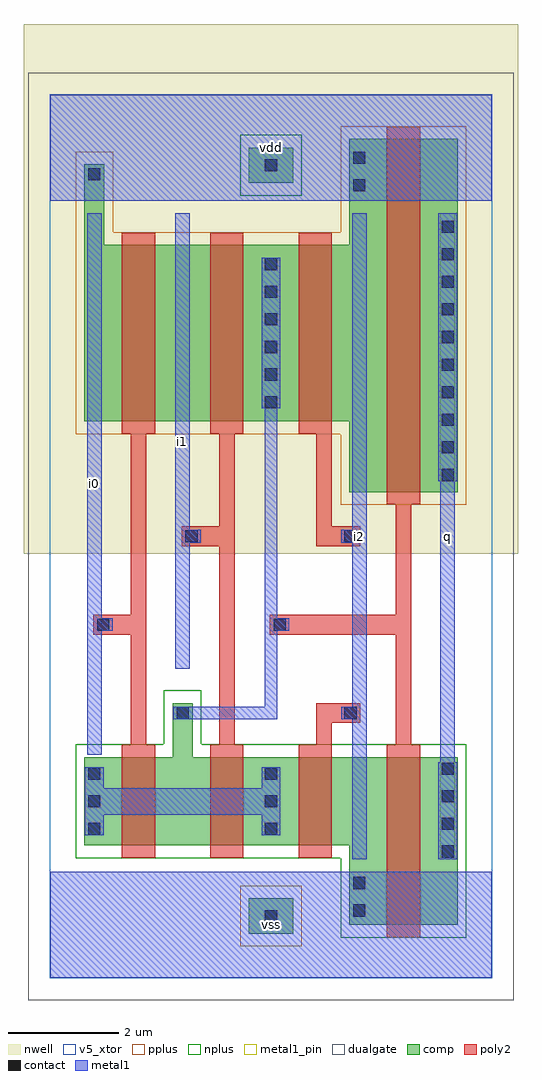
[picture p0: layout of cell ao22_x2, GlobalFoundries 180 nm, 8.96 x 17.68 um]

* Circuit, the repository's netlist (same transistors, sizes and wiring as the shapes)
* ao22_x2
.subckt ao22_x2 vdd q vss i0 i1 i2
Mp_net0_1 vdd _net0 q vdd pfet_06v0 l=0.6um w=6.4um
Mn_net0_1 vss _net0 q vss nfet_06v0 l=0.6um w=3.04um
Mp_i0_1 vdd i0 _net1 vdd pfet_06v0 l=0.6um w=3.2um
Mn_i0_1 _net2 i0 _net0 vss nfet_06v0 l=0.6um w=1.6um
Mn_i1_1 _net0 i1 _net2 vss nfet_06v0 l=0.6um w=1.6um
Mp_i1_1 _net1 i1 _net0 vdd pfet_06v0 l=0.6um w=3.2um
Mp_i2_1 _net0 i2 vdd vdd pfet_06v0 l=0.6um w=3.2um
Mn_i2_1 _net2 i2 vss vss nfet_06v0 l=0.6um w=1.6um
.ends ao22_x2

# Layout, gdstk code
import gdstk
lib = gdstk.Library(unit=1e-6, precision=1e-09)
def R(c, l, rs):  # rectangles x0, y0, x1, y1
    for r in rs: c.add(gdstk.rectangle(r[:2], r[2:], *l))
def A(c, l, x, y, w, h, nx, ny, dx, dy):  # array of equal rectangles
    R(c, l, [(x+i*dx, y+j*dy, x+i*dx+w, y+j*dy+h) for i in range(nx) for j in range(ny)])
def P(c, l, *ps):  # polygons
    for p in ps: c.add(gdstk.Polygon(p, *l))
nwell = (21, 0)
comp = (22, 0)
poly2 = (30, 0)
pplus = (31, 0)
nplus = (32, 0)
contact = (33, 0)
metal1 = (34, 0)
metal1_pin = (34, 10)
dualgate = (55, 0)
v5_xtor = (112, 1)

ao22_x2 = lib.new_cell('ao22_x2')
R(ao22_x2, nwell, [(-0.48,7.68,8.48,17.28)])
R(ao22_x2, comp, [(3.6,0.8,4.4,1.44), (3.6,14.4,4.4,15.04)])
P(ao22_x2, comp, [(5.42,8.8),(5.42,10.08),(0.62,10.08),(0.62,14.74),(0.98,14.74),(0.98,13.28),(5.42,13.28),(5.42,15.2),(7.38,15.2),(7.38,8.8)],
  [(5.42,0.96),(5.42,2.4),(0.62,2.4),(0.62,4),(2.22,4),(2.22,4.98),(2.58,4.98),(2.58,4),(7.38,4),(7.38,0.96)])
P(ao22_x2, poly2, [(6.1,0.74),(6.1,4.22),(6.26,4.22),(6.26,6.22),(3.98,6.22),(3.98,6.58),(6.26,6.58),(6.26,8.58),(6.1,8.58),(6.1,15.42),(6.7,15.42),(6.7,8.58),(6.54,8.58),(6.54,4.22),(6.7,4.22),(6.7,0.74)],
  [(1.3,2.18),(1.3,4.22),(1.46,4.22),(1.46,6.22),(0.78,6.22),(0.78,6.58),(1.46,6.58),(1.46,9.86),(1.3,9.86),(1.3,13.5),(1.9,13.5),(1.9,9.86),(1.74,9.86),(1.74,4.22),(1.9,4.22),(1.9,2.18)],
  [(2.9,2.18),(2.9,4.22),(3.06,4.22),(3.06,7.82),(2.38,7.82),(2.38,8.18),(3.06,8.18),(3.06,9.86),(2.9,9.86),(2.9,13.5),(3.5,13.5),(3.5,9.86),(3.34,9.86),(3.34,4.22),(3.5,4.22),(3.5,2.18)],
  [(4.82,7.82),(4.82,9.86),(4.5,9.86),(4.5,13.5),(5.1,13.5),(5.1,8.18),(5.62,8.18),(5.62,7.82)],
  [(4.5,2.18),(4.5,4.22),(4.82,4.22),(4.82,4.98),(5.62,4.98),(5.62,4.62),(5.1,4.62),(5.1,2.18)])
R(ao22_x2, pplus, [(3.44,0.57,4.56,1.67)])
P(ao22_x2, pplus, [(5.26,8.57),(5.26,9.85),(0.46,9.85),(0.46,14.97),(1.14,14.97),(1.14,13.51),(5.26,13.51),(5.26,15.43),(7.54,15.43),(7.54,8.57)])
R(ao22_x2, nplus, [(3.44,14.17,4.56,15.27)])
P(ao22_x2, nplus, [(5.26,0.73),(5.26,2.17),(0.46,2.17),(0.46,4.23),(2.06,4.23),(2.06,5.21),(2.74,5.21),(2.74,4.23),(7.54,4.23),(7.54,0.73)])
A(ao22_x2, contact, 7.09, 2.18, 0.22, 0.22, 1, 4, 0, 0.5)
A(ao22_x2, contact, 0.69, 2.59, 0.22, 0.22, 1, 3, 0, 0.5)
A(ao22_x2, contact, 3.89, 2.59, 0.22, 0.22, 1, 3, 0, 0.5)
A(ao22_x2, contact, 7.09, 9, 0.22, 0.22, 1, 10, 0, 0.5)
A(ao22_x2, contact, 3.89, 10.32, 0.22, 0.22, 1, 6, 0, 0.5)
R(ao22_x2, contact, [(3.89,1.01,4.11,1.23), (5.49,1.11,5.71,1.33), (5.49,1.61,5.71,1.83), (2.29,4.69,2.51,4.91), (5.33,4.69,5.55,4.91), (0.85,6.29,1.07,6.51), (4.05,6.29,4.27,6.51), (2.45,7.89,2.67,8.11), (5.33,7.89,5.55,8.11), (5.49,14.25,5.71,14.47), (0.69,14.45,0.91,14.67), (3.89,14.61,4.11,14.83), (5.49,14.75,5.71,14.97)])
R(ao22_x2, metal1, [(0,0,8,1.92), (0,14.08,8,16)])
P(ao22_x2, metal1, [(7.03,2.15),(7.03,3.905),(7.07,3.905),(7.07,8.995),(7.03,8.995),(7.03,13.85),(7.37,13.85),(7.37,8.995),(7.33,8.995),(7.33,3.905),(7.37,3.905),(7.37,2.15)],
  [(2.23,4.685),(2.23,4.915),(3.885,4.915),(3.885,10.315),(3.83,10.315),(3.83,13.045),(4.17,13.045),(4.17,10.315),(4.115,10.315),(4.115,6.515),(4.33,6.515),(4.33,6.285),(4.115,6.285),(4.115,4.685)],
  [(0.67,4.045),(0.67,13.85),(0.93,13.85),(0.93,6.515),(1.13,6.515),(1.13,6.285),(0.93,6.285),(0.93,4.045)],
  [(0.63,2.585),(0.63,3.815),(0.97,3.815),(0.97,3.44),(3.83,3.44),(3.83,3.815),(4.17,3.815),(4.17,2.585),(3.83,2.585),(3.83,2.96),(0.97,2.96),(0.97,2.585)],
  [(2.27,5.6),(2.27,13.85),(2.53,13.85),(2.53,8.115),(2.73,8.115),(2.73,7.885),(2.53,7.885),(2.53,5.6)],
  [(5.47,2.15),(5.47,4.685),(5.27,4.685),(5.27,4.915),(5.47,4.915),(5.47,7.885),(5.27,7.885),(5.27,8.115),(5.47,8.115),(5.47,13.85),(5.73,13.85),(5.73,2.15)])
R(ao22_x2, metal1_pin, [(0,0,8,1.92), (5.47,2.15,5.73,13.85), (7.07,2.15,7.33,13.85), (0.67,4.045,0.93,13.85), (2.27,5.6,2.53,13.85), (0,14.08,8,16)])
R(ao22_x2, dualgate, [(-0.4,-0.4,8.4,16.4)])
R(ao22_x2, v5_xtor, [(-0.005,-0.005,8.005,16.005)])
ao22_x2.add(gdstk.Label('vdd', (4,15.04), layer=34, texttype=10))
ao22_x2.add(gdstk.Label('q', (7.2,8), layer=34, texttype=10))
ao22_x2.add(gdstk.Label('vss', (4,0.96), layer=34, texttype=10))
ao22_x2.add(gdstk.Label('i0', (0.8,8.948), layer=34, texttype=10))
ao22_x2.add(gdstk.Label('i1', (2.4,9.725), layer=34, texttype=10))
ao22_x2.add(gdstk.Label('i2', (5.6,8), layer=34, texttype=10))

lib.write_gds('ao22_x2.gds')
